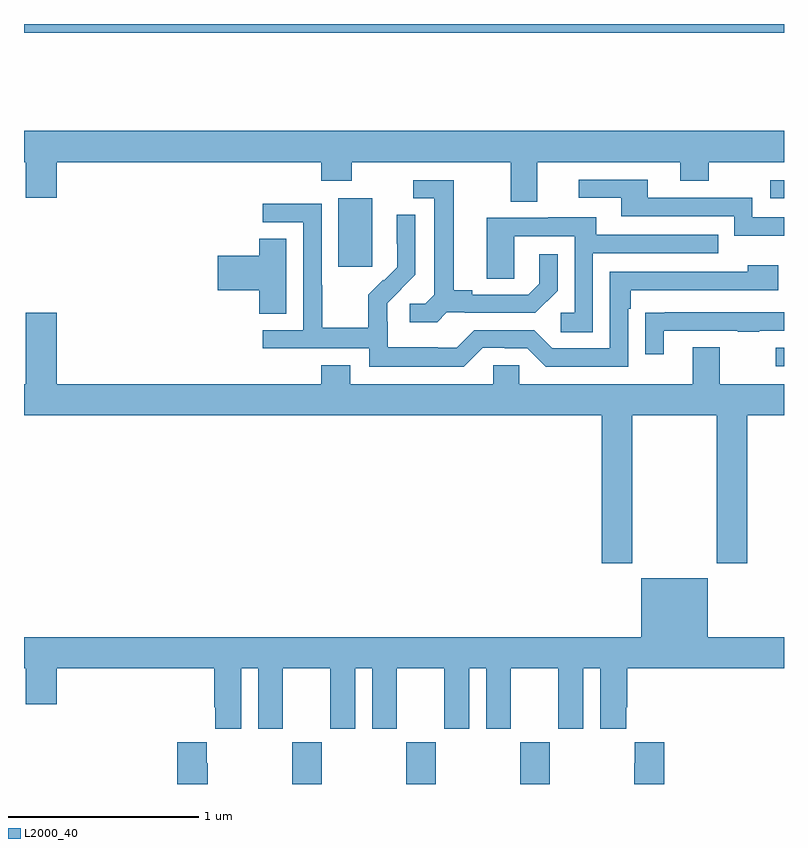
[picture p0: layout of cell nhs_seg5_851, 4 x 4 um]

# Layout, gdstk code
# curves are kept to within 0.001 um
import gdstk
lib = gdstk.Library(unit=1e-6, precision=1e-09)
def R(c, l, rs):  # rectangles x0, y0, x1, y1
    for r in rs: c.add(gdstk.rectangle(r[:2], r[2:], *l))
def A(c, l, x, y, w, h, nx, ny, dx, dy):  # array of equal rectangles
    R(c, l, [(x+i*dx, y+j*dy, x+i*dx+w, y+j*dy+h) for i in range(nx) for j in range(ny)])
def P(c, l, *ps):  # polygons
    for p in ps: c.add(gdstk.Polygon(p, *l))
L2000_40 = (2000, 40)

nhs_seg5_851 = lib.new_cell('nhs_seg5_851')
A(nhs_seg5_851, L2000_40, 166.411, 874.799, 0.155, 0.221, 3, 1, 0.6, 0)
R(nhs_seg5_851, L2000_40, [(168.957,876.999,169,877.095), (166.655,877.521,166.834,877.882), (168.927,877.881,169,877.977), (165,878.752,169,878.799)])
P(nhs_seg5_851, L2000_40, [(167.701,878.072),(168.455,878.072),(168.455,877.973),(168.603,877.973),(168.603,878.072),(169,878.072),(169,878.236),(165,878.236),(165,878.072),(165.008,878.072),(165.008,877.884),(165.172,877.884),(165.172,878.072),(166.565,878.072),(166.565,877.973),(166.725,877.973),(166.725,878.072),(167.561,878.072),(167.561,877.864),(167.701,877.864)],
  [(169,877.782),(168.834,877.782),(168.834,877.884),(168.283,877.884),(168.283,877.98),(167.919,877.98),(167.919,877.884),(168.143,877.884),(168.143,877.788),(168.738,877.788),(168.738,877.685),(169,877.685)],
  [(167.226,877.281),(167.32,877.281),(167.32,877.278),(167.692,877.278),(167.808,877.394),(167.808,877.588),(167.711,877.588),(167.711,877.431),(167.654,877.374),(167.359,877.374),(167.359,877.397),(167.263,877.397),(167.263,877.977),(167.049,877.977),(167.049,877.881),(167.159,877.881),(167.159,877.373),(167.112,877.326),(167.031,877.326),(167.031,877.229),(167.174,877.229)],
  [(167.415,877.095),(167.531,877.095),(167.531,877.092),(167.649,877.092),(167.745,876.996),(168.18,876.996),(168.18,877.301),(168.193,877.301),(168.193,877.398),(168.97,877.398),(168.97,877.528),(168.809,877.528),(168.809,877.494),(168.084,877.494),(168.084,877.092),(167.781,877.092),(167.685,877.188),(167.37,877.188),(167.277,877.095),(167.177,877.095),(167.177,877.099),(166.914,877.099),(166.914,877.233),(166.912,877.233),(166.912,877.33),(167.058,877.478),(167.058,877.796),(166.962,877.796),(166.962,877.642),(166.964,877.642),(166.964,877.52),(166.893,877.449),(166.89,877.452),(166.813,877.375),(166.813,877.201),(166.569,877.201),(166.569,877.424),(166.566,877.424),(166.566,877.854),(166.257,877.854),(166.257,877.755),(166.47,877.755),(166.47,877.188),(166.257,877.188),(166.257,877.092),(166.818,877.092),(166.818,876.995),(167.315,876.995)],
  [(167.994,877.593),(168.653,877.593),(168.653,877.689),(168.013,877.689),(168.013,877.783),(167.759,877.783),(167.759,877.779),(167.435,877.779),(167.435,877.459),(167.58,877.459),(167.58,877.683),(167.898,877.683),(167.898,877.278),(167.826,877.278),(167.826,877.177),(167.994,877.177)],
  [(166.381,877.67),(166.238,877.67),(166.238,877.58),(166.02,877.58),(166.02,877.397),(166.238,877.397),(166.238,877.273),(166.381,877.273)],
  [(168.367,877.185),(168.757,877.185),(168.757,877.18),(168.869,877.18),(168.869,877.185),(169,877.185),(169,877.281),(168.373,877.281),(168.373,877.28),(168.271,877.28),(168.271,877.062),(168.367,877.062)],
  [(168.201,876.74),(168.646,876.74),(168.646,875.961),(168.806,875.961),(168.806,876.74),(169,876.74),(169,876.904),(168.661,876.904),(168.661,877.099),(168.521,877.099),(168.521,876.904),(167.607,876.904),(167.607,877.002),(167.469,877.002),(167.469,876.904),(166.717,876.904),(166.717,877.003),(166.565,877.003),(166.565,876.904),(165.172,876.904),(165.172,877.279),(165.008,877.279),(165.008,876.904),(165,876.904),(165,876.74),(168.041,876.74),(168.041,875.961),(168.201,875.961)],
  [(166.144,875.408),(166.232,875.408),(166.232,875.091),(166.363,875.091),(166.363,875.408),(166.613,875.408),(166.613,875.091),(166.744,875.091),(166.744,875.408),(166.832,875.408),(166.832,875.091),(166.963,875.091),(166.963,875.408),(167.213,875.408),(167.213,875.091),(167.344,875.091),(167.344,875.408),(167.432,875.408),(167.432,875.091),(167.563,875.091),(167.563,875.408),(167.813,875.408),(167.813,875.091),(167.944,875.091),(167.944,875.408),(168.032,875.408),(168.032,875.091),(168.169,875.091),(168.169,875.203),(168.176,875.203),(168.176,875.408),(169,875.408),(169,875.572),(168.598,875.572),(168.598,875.881),(168.248,875.881),(168.248,875.572),(165,875.572),(165,875.408),(165.008,875.408),(165.008,875.22),(165.172,875.22),(165.172,875.408),(166.001,875.408),(166.001,875.203),(166.007,875.203),(166.007,875.091),(166.144,875.091)],
  [(168.371,875.02),(168.215,875.02),(168.215,874.907),(168.211,874.907),(168.211,874.799),(168.371,874.799)],
  [(165.966,874.907),(165.961,874.907),(165.961,875.02),(165.806,875.02),(165.806,874.799),(165.966,874.799)])

lib.write_gds('nhs_seg5_851.gds')
